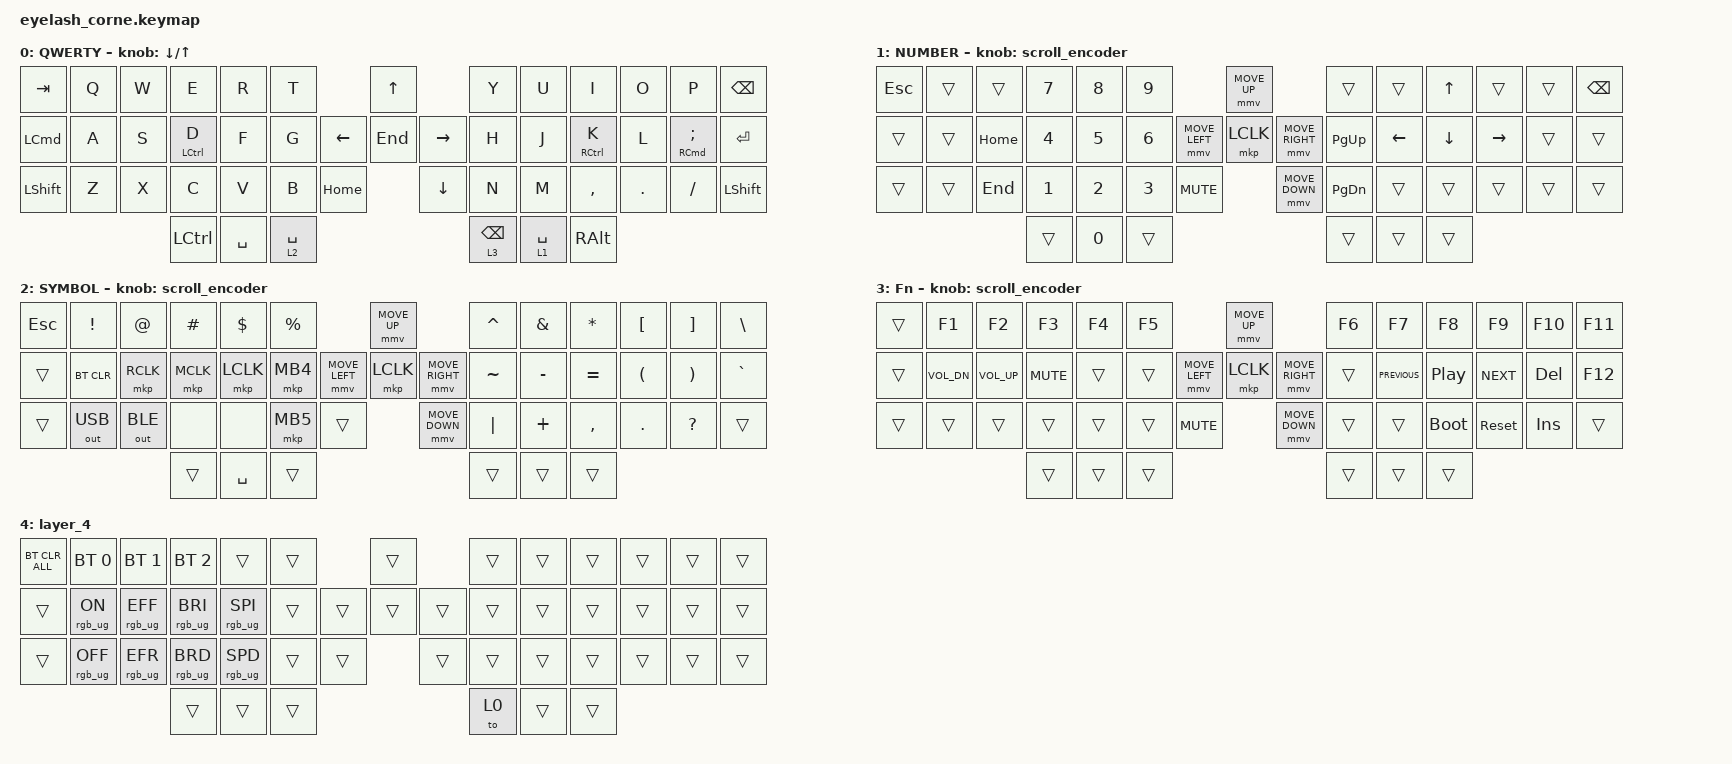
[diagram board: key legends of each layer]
#include <dt-bindings/zmk/mouse.h>
#include <input/processors.dtsi>
#include <behaviors.dtsi>
#include <dt-bindings/zmk/bt.h>
#include <dt-bindings/zmk/keys.h>
#include <dt-bindings/zmk/outputs.h>
#include <dt-bindings/zmk/pointing.h>
#include <dt-bindings/zmk/pointing.h>
#include <dt-bindings/zmk/pointing.h>
#include <dt-bindings/zmk/rgb.h>

/*

   &mmv_input_listener {
       input-processors = <&zip_xy_scaler 2 1>;
   };

   &msc_input_listener {
       input-processors = <&zip_xy_scaler 2 1>;
   };

 */

#define ZMK_MOUSE_DEFAULT_MOVE_VAL 1200  // 600
#define ZMK_MOUSE_DEFAULT_SCRL_VAL 20    // 10

/ {
    behaviors {
        td0: td0 {
            compatible = "zmk,behavior-tap-dance";
            display-name = "Shift/Caps Lock Tap Dance";
            #binding-cells = <0>;
            bindings = <&kp LEFT_SHIFT>, <&kp CAPS>;
        };
    };

    rgb_encoder: rgb_encoder {
        compatible = "zmk,behavior-sensor-rotate";
        #sensor-binding-cells = <0>;
        bindings = <&rgb_ug RGB_BRI>, <&rgb_ug RGB_BRD>;
    };

    scroll_encoder: scroll_encoder {
        compatible = "zmk,behavior-sensor-rotate";
        #sensor-binding-cells = <0>;
        bindings = <&msc SCRL_DOWN>, <&msc SCRL_UP>;

        tap-ms = <30>;
    };

    combos {
        compatible = "zmk,combos";

        layer4 {
            bindings = <&tog 4>;
            key-positions = <44 45>;
        };

        Caps {
            bindings = <&kp CAPSLOCK>;
            key-positions = <0 43>;
        };

        Esc {
            bindings = <&kp ESC>;
            key-positions = <0 1>;
        };

        OffScreen {
            bindings = <&kp LG(LC(Q))>;
            key-positions = <0 12>;
        };

        RT {
            bindings = <&kp LEFT_BRACKET>;
            key-positions = <4 5>;
        };

        YU {
            bindings = <&kp RIGHT_BRACKET>;
            key-positions = <7 8>;
        };

        FG {
            bindings = <&kp LEFT_PARENTHESIS>;
            key-positions = <17 18>;
        };

        HJ {
            bindings = <&kp RIGHT_PARENTHESIS>;
            key-positions = <22 23>;
        };
    };

    keymap {
        compatible = "zmk,keymap";

        default_layer {
            display-name = "QWERTY";
            bindings = <
&kp TAB           &kp Q  &kp W  &kp E        &kp R      &kp T                              &kp UP               &kp Y            &kp U        &kp I          &kp O    &kp P                   &kp BSPC
&kp LEFT_COMMAND  &kp A  &kp S  &mt LCTRL D  &kp F      &kp G                    &kp LEFT  &kp END   &kp RIGHT  &kp H            &kp J        &mt RCTRL K    &kp L    &mt RIGHT_COMMAND SEMI  &kp ENTER
&kp LSHFT         &kp Z  &kp X  &kp C        &kp V      &kp B        &kp HOME              &kp DOWN             &kp N            &kp M        &kp COMMA      &kp DOT  &kp FSLH                &kp LSHFT
                                &kp LCTRL    &kp SPACE  &lt 2 SPACE                                             &lt 3 BACKSPACE  &lt 1 SPACE  &kp RIGHT_ALT
            >;

            sensor-bindings = <&inc_dec_kp DOWN UP>;
        };

        lower_layer {
            display-name = "NUMBER";
            bindings = <
&kp ESC  &trans  &trans    &kp N7  &kp N8  &kp N9                                &mmv MOVE_UP                     &trans         &trans    &kp UP    &trans     &trans  &kp BSPC
&trans   &trans  &kp HOME  &kp N4  &kp N5  &kp N6                &mmv MOVE_LEFT  &mkp LCLK       &mmv MOVE_RIGHT  &kp PAGE_UP    &kp LEFT  &kp DOWN  &kp RIGHT  &trans  &trans
&trans   &trans  &kp END   &kp N1  &kp N2  &kp N3  &kp C_MUTE                    &mmv MOVE_DOWN                   &kp PAGE_DOWN  &trans    &trans    &trans     &trans  &trans
                           &trans  &kp N0  &trans                                                                 &trans         &trans    &trans
            >;

            sensor-bindings = <&scroll_encoder>;
        };

        raise_layer {
            display-name = "SYMBOL";
            bindings = <
&kp ESC  &kp EXCL      &kp AT        &kp HASH   &kp DLLR   &kp PRCNT                            &mmv MOVE_UP                     &kp CARET  &kp AMPS   &kp ASTRK  &kp LEFT_BRACKET      &kp RIGHT_BRACKET      &kp BACKSLASH
&trans   &bt BT_CLR    &mkp RCLK     &mkp MCLK  &mkp LCLK  &mkp MB4             &mmv MOVE_LEFT  &mkp LCLK       &mmv MOVE_RIGHT  &kp TILDE  &kp MINUS  &kp EQUAL  &kp LEFT_PARENTHESIS  &kp RIGHT_PARENTHESIS  &kp GRAVE
&trans   &out OUT_USB  &out OUT_BLE  &none      &none      &mkp MB5   &trans                    &mmv MOVE_DOWN                   &kp PIPE   &kp PLUS   &kp COMMA  &kp PERIOD            &kp QUESTION           &trans
                                     &trans     &kp SPACE  &trans                                                                &trans     &trans     &trans
            >;

            sensor-bindings = <&scroll_encoder>;
        };

        layer_3 {
            display-name = "Fn";
            bindings = <
&trans  &kp F1        &kp F2        &kp F3      &kp F4  &kp F5                                &mmv MOVE_UP                     &kp F6  &kp F7          &kp F8            &kp F9      &kp F10     &kp F11
&trans  &kp C_VOL_DN  &kp C_VOL_UP  &kp K_MUTE  &trans  &trans                &mmv MOVE_LEFT  &mkp LCLK       &mmv MOVE_RIGHT  &trans  &kp C_PREVIOUS  &kp C_PLAY_PAUSE  &kp C_NEXT  &kp DELETE  &kp F12
&trans  &trans        &trans        &trans      &trans  &trans  &kp C_MUTE                    &mmv MOVE_DOWN                   &trans  &trans          &bootloader       &sys_reset  &kp INS     &trans
                                    &trans      &trans  &trans                                                                 &trans  &trans          &trans
            >;

            sensor-bindings = <&scroll_encoder>;
        };

        layer_4 {
            bindings = <
&bt BT_CLR_ALL  &bt BT_SEL 0     &bt BT_SEL 1     &bt BT_SEL 2     &trans           &trans                    &trans          &trans  &trans  &trans  &trans  &trans  &trans
&trans          &rgb_ug RGB_ON   &rgb_ug RGB_EFF  &rgb_ug RGB_BRI  &rgb_ug RGB_SPI  &trans            &trans  &trans  &trans  &trans  &trans  &trans  &trans  &trans  &trans
&trans          &rgb_ug RGB_OFF  &rgb_ug RGB_EFR  &rgb_ug RGB_BRD  &rgb_ug RGB_SPD  &trans  &trans            &trans          &trans  &trans  &trans  &trans  &trans  &trans
                                                  &trans           &trans           &trans                                    &to 0   &trans  &trans
            >;
        };
    };
};
